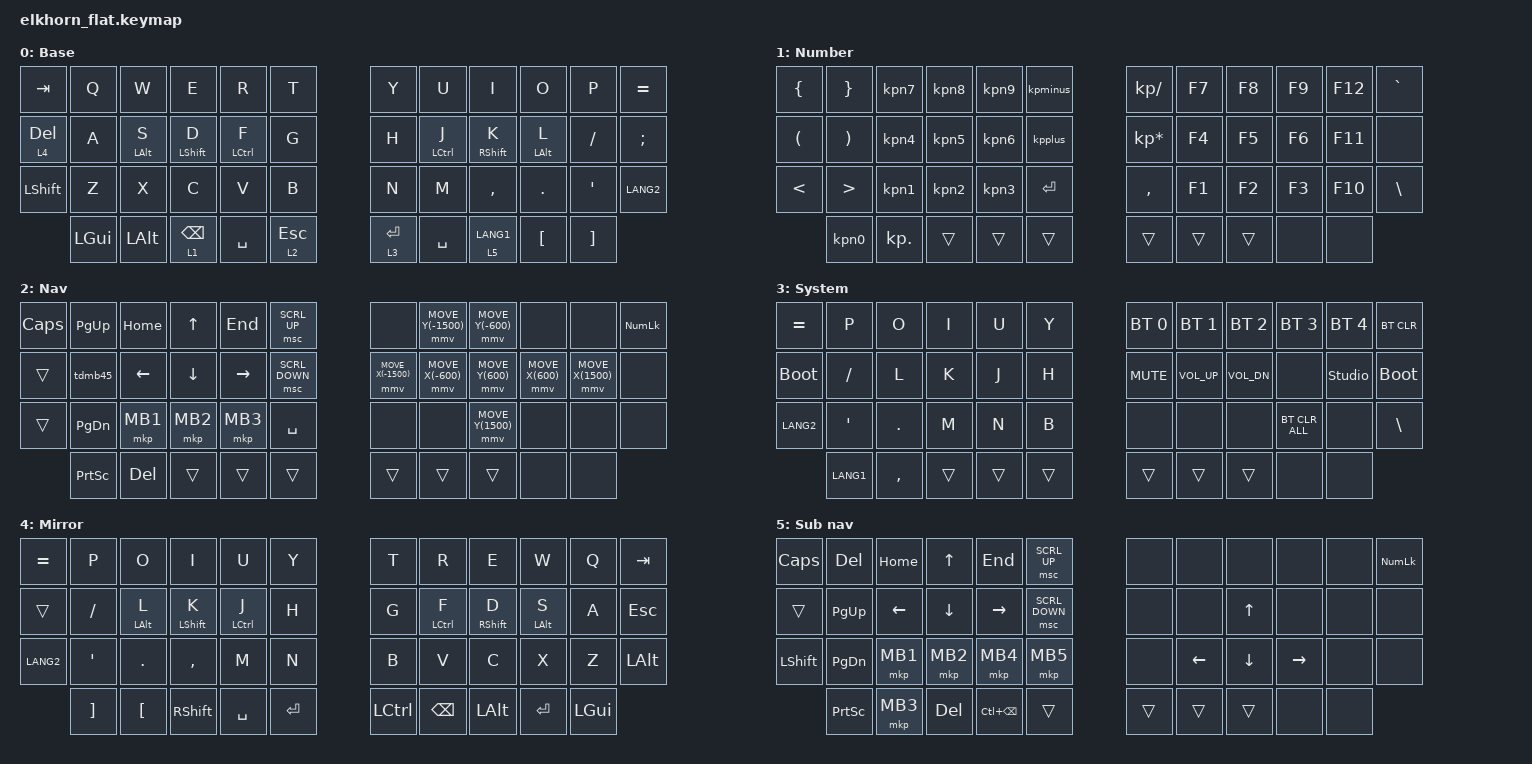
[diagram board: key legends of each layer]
/*
*
* Copyright (c) 2021 Darryl deHaan
* SPDX-License-Identifier: MIT
*
* Layout ported from the Split Heart keymap (iretional/zmk-config).
* Split Heart has 60 keys and Elkhorn Flat has 46, so:
*   - Split Heart rows 2-4 (Tab/QWERTY, home, bottom) are Elkhorn rows 1-3.
*   - Split Heart's number row has no Elkhorn row; what it held is moved
*     onto free keys in each layer (see the notes above each layer).
*   - Bottom row: Split Heart keys 48 49 52 53 54 -> Elkhorn 36-40,
*     keys 57 58 56 50 51 -> Elkhorn 41-45. Keys 55 and 59 have no place.
*/

#include <behaviors.dtsi>
#include <dt-bindings/zmk/keys.h>
#include <dt-bindings/zmk/bt.h>
#define ZMK_POINTING_DEFAULT_SCRL_VAL 20  // Scroll speed; ZMK default is 10
#include <dt-bindings/zmk/pointing.h>

#define KEYS_L 0 1 2 3 4 5      12 13 14 15 16 17   24 25 26 27 28 29
#define KEYS_R 6 7 8 9 10 11    18 19 20 21 22 23   30 31 32 33 34 35
#define THUMBS 36 37 38 39 40   41 42 43 44 45

/ {
    behaviors {
        kpn1: kpn1_shiftn1 {
            compatible = "zmk,behavior-mod-morph";
            #binding-cells = <0>;
            bindings = <&kp KP_N1>, <&kp EXCL>;
            mods = <(MOD_LSFT|MOD_RSFT)>;
        };
        kpn2: kpn2_shiftn2 {
            compatible = "zmk,behavior-mod-morph";
            #binding-cells = <0>;
            bindings = <&kp KP_N2>, <&kp AT>;
            mods = <(MOD_LSFT|MOD_RSFT)>;
        };
        kpn3: kpn3_shiftn3 {
            compatible = "zmk,behavior-mod-morph";
            #binding-cells = <0>;
            bindings = <&kp KP_N3>, <&kp POUND>;
            mods = <(MOD_LSFT|MOD_RSFT)>;
        };
        kpn4: kpn4_shiftn4 {
            compatible = "zmk,behavior-mod-morph";
            #binding-cells = <0>;
            bindings = <&kp KP_N4>, <&kp DLLR>;
            mods = <(MOD_LSFT|MOD_RSFT)>;
        };
        kpn5: kpn5_shiftn5 {
            compatible = "zmk,behavior-mod-morph";
            #binding-cells = <0>;
            bindings = <&kp KP_N5>, <&kp PRCNT>;
            mods = <(MOD_LSFT|MOD_RSFT)>;
        };
        kpn6: kpn6_shiftn6 {
            compatible = "zmk,behavior-mod-morph";
            #binding-cells = <0>;
            bindings = <&kp KP_N6>, <&kp CARET>;
            mods = <(MOD_LSFT|MOD_RSFT)>;
        };
        kpn7: kpn7_shiftn7 {
            compatible = "zmk,behavior-mod-morph";
            #binding-cells = <0>;
            bindings = <&kp KP_N7>, <&kp AMPS>;
            mods = <(MOD_LSFT|MOD_RSFT)>;
        };
        kpn8: kpn8_shiftn8 {
            compatible = "zmk,behavior-mod-morph";
            #binding-cells = <0>;
            bindings = <&kp KP_N8>, <&kp ASTRK>;
            mods = <(MOD_LSFT|MOD_RSFT)>;
        };
        kpn9: kpn9_shiftn9 {
            compatible = "zmk,behavior-mod-morph";
            #binding-cells = <0>;
            bindings = <&kp KP_N9>, <&kp LPAR>;
            mods = <(MOD_LSFT|MOD_RSFT)>;
        };
        kpn0: kpn0_shiftn0 {
            compatible = "zmk,behavior-mod-morph";
            #binding-cells = <0>;
            bindings = <&kp KP_N0>, <&kp RPAR>;
            mods = <(MOD_LSFT|MOD_RSFT)>;
        };

        kpminus: kpminus_under {
            compatible = "zmk,behavior-mod-morph";
            #binding-cells = <0>;
            bindings = <&kp KP_MINUS>, <&kp UNDERSCORE>;
            mods = <(MOD_LSFT|MOD_RSFT)>;
        };

        kpplus: kpplus_equal {
            compatible = "zmk,behavior-mod-morph";
            #binding-cells = <0>;
            bindings = <&kp KP_PLUS>, <&kp EQUAL>;
            mods = <(MOD_LSFT|MOD_RSFT)>;
        };

        hml: home_row_mod_left {
            compatible = "zmk,behavior-hold-tap";
            #binding-cells = <2>;
            flavor = "balanced";
            require-prior-idle-ms = <150>;
            tapping-term-ms = <280>;
            quick-tap-ms = <175>;
            bindings = <&kp>, <&kp>;
            hold-trigger-key-positions = < KEYS_R THUMBS >; // List of keys on the right side of the keyboard
            hold-trigger-on-release;
        };
        hmr: home_row_mod_right {
            compatible = "zmk,behavior-hold-tap";
            #binding-cells = <2>;
            flavor = "balanced";
            require-prior-idle-ms = <150>;
            tapping-term-ms = <280>;
            quick-tap-ms = <175>;
            bindings = <&kp>, <&kp>;
            hold-trigger-key-positions = < KEYS_L THUMBS >; // List of keys on the left side of the keyboard
            hold-trigger-on-release;
        };

        tdmb45: tap_dance_mouse_m45 {
            compatible = "zmk,behavior-tap-dance";
            #binding-cells = <0>;
            tapping-term-ms = <180>;
            bindings = <&mkp MB4>, <&mkp MB5>;
        };
    };

/*
 0  1  2  3  4  5     6  7  8  9 10 11
12 13 14 15 16 17    18 19 20 21 22 23
24 25 26 27 28 29    30 31 32 33 34 35
   36 37 38 39 40    41 42 43 44 45
*/

    keymap {
        compatible = "zmk,keymap";

        // Split Heart's number row (` 1-0 -) has no row here: the digits and - are on layer 1, ` is at 11 on layer 1.
        // Split Heart's left-thumb LCTRL and right-thumb RSHIFT have no key; use the home-row mods (F/J, D/K).
        default_layer {
            display-name = "Base";
            bindings = <
&kp TAB       &kp Q         &kp W         &kp E         &kp R         &kp T           &kp Y          &kp U          &kp I          &kp O          &kp P          &kp EQUAL
&lt 4 DEL     &kp A         &hml LALT S   &hml LSHIFT D &hml LCTRL F  &kp G           &kp H          &hmr LCTRL J   &hmr RSHIFT K  &hmr LALT L    &kp SLASH      &kp SEMI
&kp LSHIFT    &kp Z         &kp X         &kp C         &kp V         &kp B           &kp N          &kp M          &kp COMMA      &kp DOT        &kp SQT        &kp LANG2
              &kp LGUI      &kp LALT      &lt 1 BSPC    &kp SPACE     &lt 2 ESC       &lt 3 ENTER    &kp SPACE      &lt 5 LANG1    &kp LBKT       &kp RBKT
            >;
        };

        // Moved from the number row: / at 6, * at 18, comma at 30, F10-F12 at 10/22/34, ` at 11.
        // [ ] are on the base layer (44, 45); = is on the base layer (11).
        number_layer {  // 1
            display-name = "Number";
            bindings = <
&kp LBRC      &kp RBRC      &kpn7         &kpn8         &kpn9         &kpminus        &kp KP_DIVIDE  &kp F7         &kp F8         &kp F9         &kp F12        &kp GRAVE
&kp LPAR      &kp RPAR      &kpn4         &kpn5         &kpn6         &kpplus         &kp KP_MULTIPLY &kp F4        &kp F5         &kp F6         &kp F11        &none
&kp LT        &kp GT        &kpn1         &kpn2         &kpn3         &kp ENTER       &kp COMMA      &kp F1         &kp F2         &kp F3         &kp F10        &kp BSLH
              &kpn0         &kp KP_DOT    &trans        &trans        &trans          &trans         &trans         &trans         &none          &none
            >;
        };

        // Moved from the number row: PgUp at 1, PgDn at 25, fast mouse-up at 7, Num Lock at 11, Print Screen at 36.
        navigation_layer { // 2
            display-name = "Nav";
            bindings = <
&kp CAPS      &kp PG_UP     &kp HOME      &kp UP        &kp END       &msc SCRL_UP    &none              &mmv MOVE_Y(-1500) &mmv MOVE_Y(-600)  &none              &none              &kp KP_NUM
&trans        &tdmb45       &kp LEFT      &kp DOWN      &kp RIGHT     &msc SCRL_DOWN  &mmv MOVE_X(-1500) &mmv MOVE_X(-600)  &mmv MOVE_Y(600)   &mmv MOVE_X(600)   &mmv MOVE_X(1500)  &none
&trans        &kp PG_DN     &mkp MB1      &mkp MB2      &mkp MB3      &kp SPACE       &none              &none              &mmv MOVE_Y(1500)  &none              &none              &none
              &kp PSCRN     &kp DEL       &trans        &trans        &trans          &trans             &trans             &trans             &none              &none
            >;
        };

        // Hold right thumb Enter (position 41) for layer 3, then:
        // Bluetooth profiles 0-4 and BT_CLR are on the top row (6-11), where Split Heart had them on its number row.
        // Positions 12 and 23 enter the bootloader. It runs on the half that is pressed, so each half has one.
        // BT_CLR_ALL (position 33) has no used key around it, so it can't be hit by reaching for another key.
        // Position 22 = unlock ZMK Studio for editing.
        // Not carried over: the mirrored number row and backlight keys (no backlight).
        system_layer { // 3
            display-name = "System";
            bindings = <
&kp EQUAL     &kp P         &kp O         &kp I         &kp U         &kp Y           &bt BT_SEL 0   &bt BT_SEL 1   &bt BT_SEL 2   &bt BT_SEL 3   &bt BT_SEL 4   &bt BT_CLR
&bootloader   &kp SLASH     &kp L         &kp K         &kp J         &kp H           &kp C_MUTE     &kp C_VOL_UP   &kp C_VOL_DN   &none          &studio_unlock &bootloader
&kp LANG2     &kp SQT       &kp DOT       &kp M         &kp N         &kp B           &none          &none          &none          &bt BT_CLR_ALL &none          &kp BSLH
              &kp LANG1     &kp COMMA     &trans        &trans        &trans          &trans         &trans         &trans         &none          &none
            >;
        };

        // Not carried over: the mirrored number row and Split Heart's thumb LANG1 (key 55).
        mirror_layer { // 4
            display-name = "Mirror";
            bindings = <
&kp EQUAL     &kp P         &kp O         &kp I         &kp U         &kp Y           &kp T          &kp R          &kp E          &kp W          &kp Q          &kp TAB
&trans        &kp SLASH     &hml LALT L   &hml LSHIFT K &hml LCTRL J  &kp H           &kp G          &hmr LCTRL F   &hmr RSHIFT D  &hmr LALT S    &kp A          &kp ESC
&kp LANG2     &kp SQT       &kp DOT       &kp COMMA     &kp M         &kp N           &kp B          &kp V          &kp C          &kp X          &kp Z          &kp LALT
              &kp RBKT      &kp LBKT      &kp RSHFT     &kp SPACE     &kp ENTER       &kp LCTRL      &kp BSPC       &kp LALT       &kp ENTER      &kp LGUI
            >;
        };

        // Moved from the number row: PgUp at 13, PgDn at 25, Num Lock at 11, Print Screen at 36.
        sub_navigation_layer { // 5
            display-name = "Sub nav";
            bindings = <
&kp CAPS      &kp DEL       &kp HOME      &kp UP        &kp END       &msc SCRL_UP    &none          &none          &none          &none          &none          &kp KP_NUM
&trans        &kp PG_UP     &kp LEFT      &kp DOWN      &kp RIGHT     &msc SCRL_DOWN  &none          &none          &kp UP         &none          &none          &none
&kp LSHFT     &kp PG_DN     &mkp MB1      &mkp MB2      &mkp MB4      &mkp MB5        &none          &kp LEFT       &kp DOWN       &kp RIGHT      &none          &none
              &kp PSCRN     &mkp MB3      &kp DEL       &kp LC(BSPC)  &trans          &trans         &trans         &trans         &none          &none
            >;
        };

    };
};
